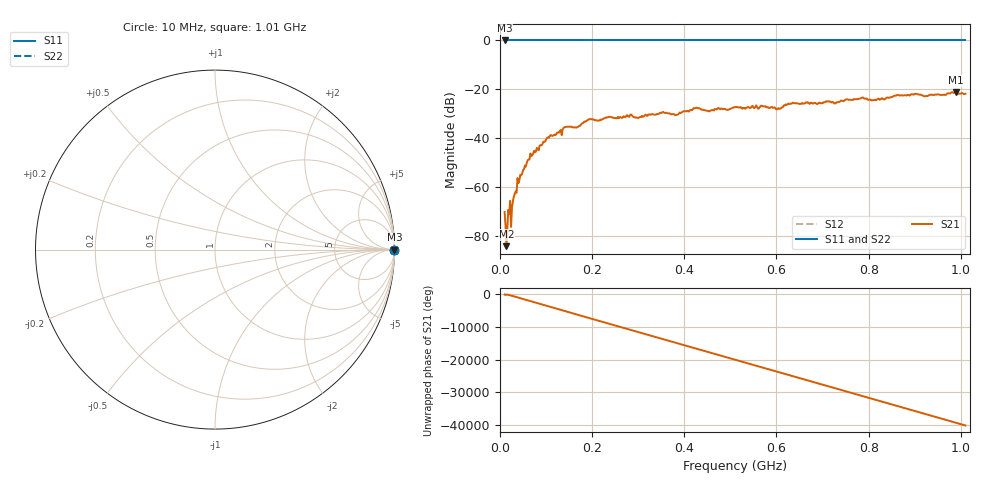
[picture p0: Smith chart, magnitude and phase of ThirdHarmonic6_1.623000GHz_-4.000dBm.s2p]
! 8/16/2025 7:23:01 PM
! C:\ANRITSUVNA\TEMP\TEMP.S2P
! CHANNEL.1
! TR.MEASUREMENT
! RAW.DATA
! RF.CORRECTION.OFF
! AVERAGING.OFF
! IF.BANDWIDTH: 5KHZ
! SWEEPTYPE:  FREQ.SWEEP(Linear)
! Reference Plane Port Info
! PORT:  PORT1  PORT2
! DISTANCE:  0  m  0  m
! TIME:  0  s  0  s
! PHASE.OFFSET:  0  deg.  0  deg.
! LOSS:  0  dB  0  dB
! REF.LOSS:  0  dB  0  dB
! REF.FREQ:  0  Hz  0  Hz
! Power Info
! POWER:  -20  dBm  -20  dBm
! EFF.POWER:  -20  dBm  -20  dBm
! SOURCE.ATTEN:  0  dB  0  dB
! TEST.ATTEN:  0  dB  0  dB
# GHZ S RI R 50.0
! FREQ.GHZ  S11RE  S11IM  S21RE  S21IM  S12RE  S12IM  S22RE  S22IM
!; PortSelection: Port_12
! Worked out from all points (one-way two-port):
!   501 points, 10 MHz to 1.01 GHz, reference 50 ohm
!   highest |S21| = -21.20 dB at 990 MHz (marker M1); lowest = -84.3 dB at 14 MHz (marker M2)
!   lowest |S11| = 0.0 dB at 10 MHz (marker M3)
!   |S11| at or under -10 dB: nowhere
!   |S22| runs from 0.0 to 0.0 dB; largest |S21 - S12| = 1.1
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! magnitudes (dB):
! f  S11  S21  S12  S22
! 10 MHz  0.0  -70.3  0.0  0.0
! 14 MHz  0.0  -84.3  0.0  0.0
! 16 MHz  0.0  -76.8  0.0  0.0
! 28 MHz  0.0  -66.0  0.0  0.0
! 30 MHz  0.0  -64.0  0.0  0.0
! 42 MHz  0.0  -57.4  0.0  0.0
! 70 MHz  0.0  -47.2  0.0  0.0
! 106 MHz  0.0  -39.9  0.0  0.0
! 142 MHz  0.0  -35.5  0.0  0.0
! 178 MHz  0.0  -34.1  0.0  0.0
! 196 MHz  0.0  -32.3  0.0  0.0
! 344 MHz  0.0  -30.2  0.0  0.0
! 382 MHz  0.0  -30.5  0.0  0.0
! 424 MHz  0.0  -27.8  0.0  0.0
! 452 MHz  0.0  -28.9  0.0  0.0
! 510 MHz  0.0  -27.3  0.0  0.0
! 604 MHz  0.0  -27.8  0.0  0.0
! 634 MHz  0.0  -25.8  0.0  0.0
! 678 MHz  0.0  -25.8  0.0  0.0
! 844 MHz  0.0  -23.6  0.0  0.0
! 990 MHz  0.0  -21.2  0.0  0.0
! 1.01 GHz  0.0  -21.9  0.0  0.0
